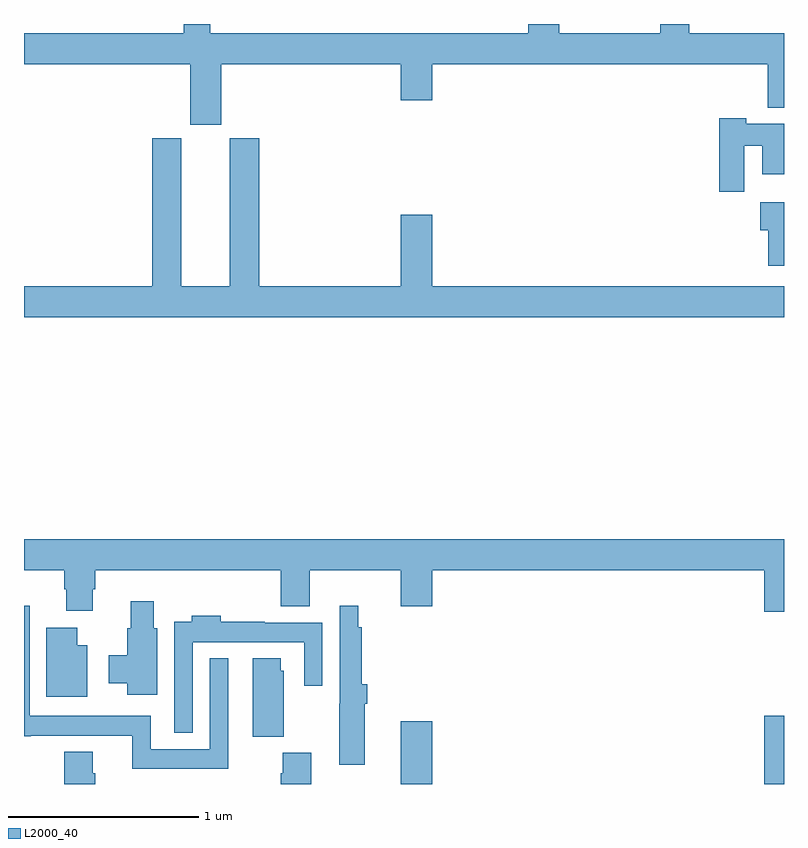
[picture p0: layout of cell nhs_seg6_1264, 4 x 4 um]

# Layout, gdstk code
import gdstk
lib = gdstk.Library(unit=1e-6, precision=1e-09)
def R(c, l, rs):  # rectangles x0, y0, x1, y1
    for r in rs: c.add(gdstk.rectangle(r[:2], r[2:], *l))
def P(c, l, *ps):  # polygons
    for p in ps: c.add(gdstk.Polygon(p, *l))
L2000_40 = (2000, 40)

nhs_seg6_1264 = lib.new_cell('nhs_seg6_1264')
R(nhs_seg6_1264, L2000_40, [(188.984,991.5,189.148,991.831), (190.895,991.5,191,991.858)])
P(nhs_seg6_1264, L2000_40, [(190.349,995.5),(190.349,995.452),(189.818,995.452),(189.818,995.5),(189.653,995.5),(189.653,995.452),(187.98,995.452),(187.98,995.5),(187.841,995.5),(187.841,995.452),(187,995.452),(187,995.288),(187.874,995.288),(187.874,994.971),(188.038,994.971),(188.038,995.288),(188.984,995.288),(188.984,995.1),(189.148,995.1),(189.148,995.288),(190.915,995.288),(190.915,995.06),(191,995.06),(191,995.452),(190.501,995.452),(190.501,995.5)],
  [(190.792,994.858),(190.886,994.858),(190.886,994.709),(191,994.709),(191,994.975),(190.8,994.975),(190.8,995.005),(190.658,995.005),(190.658,994.617),(190.792,994.617)],
  [(191,994.12),(189.148,994.12),(189.148,994.495),(188.984,994.495),(188.984,994.12),(188.237,994.12),(188.237,994.899),(188.084,994.899),(188.084,994.12),(187.828,994.12),(187.828,994.899),(187.676,994.899),(187.676,994.12),(187,994.12),(187,993.956),(191,993.956)],
  [(191,994.561),(190.874,994.561),(190.874,994.414),(190.918,994.414),(190.918,994.227),(191,994.227)],
  [(191,992.788),(187,992.788),(187,992.624),(187.211,992.624),(187.211,992.526),(187.223,992.526),(187.223,992.412),(187.363,992.412),(187.363,992.526),(187.376,992.526),(187.376,992.624),(188.351,992.624),(188.351,992.435),(188.503,992.435),(188.503,992.624),(188.984,992.624),(188.984,992.436),(189.148,992.436),(189.148,992.624),(190.895,992.624),(190.895,992.406),(191,992.406)],
  [(187.702,992.319),(187.684,992.319),(187.684,992.461),(187.562,992.461),(187.562,992.319),(187.544,992.319),(187.544,992.178),(187.445,992.178),(187.445,992.03),(187.544,992.03),(187.544,991.971),(187.702,991.971)],
  [(188.794,991.922),(188.807,991.922),(188.807,992.026),(188.777,992.026),(188.777,992.324),(188.76,992.324),(188.76,992.437),(188.661,992.437),(188.661,991.922),(188.66,991.922),(188.66,991.602),(188.794,991.602)],
  [(188.074,992.161),(187.977,992.161),(187.977,991.684),(187.668,991.684),(187.668,991.858),(187.029,991.858),(187.029,992.437),(187,992.437),(187,991.752),(187.036,991.752),(187.036,991.754),(187.571,991.754),(187.571,991.58),(188.074,991.58)],
  [(187.887,992.246),(188.475,992.246),(188.475,992.016),(188.571,992.016),(188.571,992.35),(188.267,992.35),(188.267,992.353),(188.036,992.353),(188.036,992.386),(187.883,992.386),(187.883,992.353),(187.791,992.353),(187.791,991.769),(187.887,991.769)],
  [(187.333,992.23),(187.279,992.23),(187.279,992.323),(187.118,992.323),(187.118,991.958),(187.333,991.958)],
  [(188.368,992.097),(188.35,992.097),(188.35,992.161),(188.204,992.161),(188.204,991.75),(188.368,991.75)],
  [(187.376,991.557),(187.363,991.557),(187.363,991.669),(187.211,991.669),(187.211,991.5),(187.376,991.5)],
  [(188.511,991.665),(188.363,991.665),(188.363,991.556),(188.351,991.556),(188.351,991.5),(188.511,991.5)])

lib.write_gds('nhs_seg6_1264.gds')
